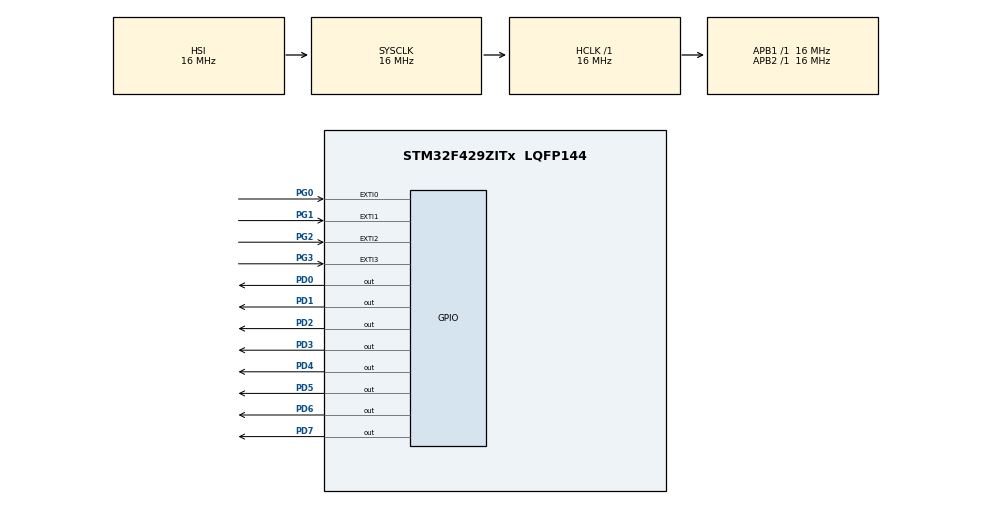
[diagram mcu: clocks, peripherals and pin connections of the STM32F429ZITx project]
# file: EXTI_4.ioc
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Mcu.Family=STM32F4
Mcu.Name=STM32F429ZITx
Mcu.Package=LQFP144
NVIC.EXTI0_IRQn=true\:0\:0\:false\:false\:true\:true\:true\:true
NVIC.EXTI1_IRQn=true\:0\:0\:false\:false\:true\:true\:true\:true
NVIC.EXTI2_IRQn=true\:0\:0\:false\:false\:true\:true\:true\:true
NVIC.EXTI3_IRQn=true\:0\:0\:false\:false\:true\:true\:true\:true
NVIC.PriorityGroup=NVIC_PRIORITYGROUP_4
PA13.Mode=Serial_Wire
PA13.Signal=SYS_JTMS-SWDIO
PA14.Mode=Serial_Wire
PA14.Signal=SYS_JTCK-SWCLK
PD0.GPIO_ModeDefaultOutputPP=GPIO_MODE_OUTPUT_PP
PD0.GPIO_PuPd=GPIO_PULLUP
PD0.GPIO_Speed=GPIO_SPEED_FREQ_HIGH
PD0.PinState=GPIO_PIN_RESET
PD0.Signal=GPIO_Output
PD1.GPIO_ModeDefaultOutputPP=GPIO_MODE_OUTPUT_PP
PD1.GPIO_PuPd=GPIO_PULLUP
PD1.GPIO_Speed=GPIO_SPEED_FREQ_HIGH
PD1.PinState=GPIO_PIN_RESET
PD1.Signal=GPIO_Output
PD2.GPIO_ModeDefaultOutputPP=GPIO_MODE_OUTPUT_PP
PD2.GPIO_PuPd=GPIO_PULLUP
PD2.GPIO_Speed=GPIO_SPEED_FREQ_HIGH
PD2.PinState=GPIO_PIN_RESET
PD2.Signal=GPIO_Output
PD3.GPIO_ModeDefaultOutputPP=GPIO_MODE_OUTPUT_PP
PD3.GPIO_PuPd=GPIO_PULLUP
PD3.GPIO_Speed=GPIO_SPEED_FREQ_HIGH
PD3.PinState=GPIO_PIN_RESET
PD3.Signal=GPIO_Output
PD4.GPIO_ModeDefaultOutputPP=GPIO_MODE_OUTPUT_PP
PD4.GPIO_PuPd=GPIO_PULLUP
PD4.GPIO_Speed=GPIO_SPEED_FREQ_HIGH
PD4.PinState=GPIO_PIN_RESET
PD4.Signal=GPIO_Output
PD5.GPIO_ModeDefaultOutputPP=GPIO_MODE_OUTPUT_PP
PD5.GPIO_PuPd=GPIO_PULLUP
PD5.GPIO_Speed=GPIO_SPEED_FREQ_HIGH
PD5.PinState=GPIO_PIN_RESET
PD5.Signal=GPIO_Output
PD6.GPIO_ModeDefaultOutputPP=GPIO_MODE_OUTPUT_PP
PD6.GPIO_PuPd=GPIO_PULLUP
PD6.GPIO_Speed=GPIO_SPEED_FREQ_HIGH
PD6.PinState=GPIO_PIN_RESET
PD6.Signal=GPIO_Output
PD7.GPIO_ModeDefaultOutputPP=GPIO_MODE_OUTPUT_PP
PD7.GPIO_PuPd=GPIO_PULLUP
PD7.GPIO_Speed=GPIO_SPEED_FREQ_HIGH
PD7.PinState=GPIO_PIN_RESET
PD7.Signal=GPIO_Output
PG0.GPIO_ModeDefaultEXTI=GPIO_MODE_IT_FALLING
PG0.GPIO_PuPd=GPIO_NOPULL
PG0.Signal=GPXTI0
PG1.GPIO_ModeDefaultEXTI=GPIO_MODE_IT_FALLING
PG1.GPIO_PuPd=GPIO_NOPULL
PG1.Signal=GPXTI1
PG2.GPIO_ModeDefaultEXTI=GPIO_MODE_IT_FALLING
PG2.GPIO_PuPd=GPIO_NOPULL
PG2.Signal=GPXTI2
PG3.GPIO_ModeDefaultEXTI=GPIO_MODE_IT_FALLING
PG3.GPIO_PuPd=GPIO_NOPULL
PG3.Signal=GPXTI3
ProjectManager.HeapSize=0x200
ProjectManager.StackSize=0x400
ProjectManager.TargetToolchain=STM32CubeIDE
RCC.AHBFreq_Value=16000000
RCC.APB1Freq_Value=16000000
RCC.APB2Freq_Value=16000000
RCC.CortexFreq_Value=16000000
RCC.HSE_VALUE=25000000
RCC.HSI_VALUE=16000000
RCC.LSE_VALUE=32768
RCC.SYSCLKFreq_VALUE=16000000
RCC.VCOOutputFreq_Value=192000000
board=custom

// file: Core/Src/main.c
/* USER CODE BEGIN Header */
/**
  ******************************************************************************
  * @file           : main.c
  * @brief          : Main program body
  ******************************************************************************
  * @attention
  *
  * Copyright (c) 2022 STMicroelectronics.
  * All rights reserved.
  *
  * This software is licensed under terms that can be found in the LICENSE file
  * in the root directory of this software component.
  * If no LICENSE file comes with this software, it is provided AS-IS.
  *
  ******************************************************************************
  */
/* USER CODE END Header */
#include "main.h"

void SystemClock_Config(void);
static void MX_GPIO_Init(void);
/* USER CODE BEGIN PFP */
void LED_OnOff(int, int);
/* USER CODE END PFP */

int main(void)
{

  /* MCU Configuration--------------------------------------------------------*/

  /* Reset of all peripherals, Initializes the Flash interface and the Systick. */
  HAL_Init();

  /* Configure the system clock */
  SystemClock_Config();

  /* Initialize all configured peripherals */
  MX_GPIO_Init();
  /* USER CODE BEGIN 2 */
  LED_OnOff(LED_ALL, 500);
  /* USER CODE END 2 */

  /* Infinite loop */
  while (1)
  {

  }
}

void SystemClock_Config(void)
{
  RCC_OscInitTypeDef RCC_OscInitStruct = {0};
  RCC_ClkInitTypeDef RCC_ClkInitStruct = {0};

  /** Configure the main internal regulator output voltage
  */
  __HAL_RCC_PWR_CLK_ENABLE();
  __HAL_PWR_VOLTAGESCALING_CONFIG(PWR_REGULATOR_VOLTAGE_SCALE3);

  /** Initializes the RCC Oscillators according to the specified parameters
  * in the RCC_OscInitTypeDef structure.
  */
  RCC_OscInitStruct.OscillatorType = RCC_OSCILLATORTYPE_HSI;
  RCC_OscInitStruct.HSIState = RCC_HSI_ON;
  RCC_OscInitStruct.HSICalibrationValue = RCC_HSICALIBRATION_DEFAULT;
  RCC_OscInitStruct.PLL.PLLState = RCC_PLL_NONE;
  if (HAL_RCC_OscConfig(&RCC_OscInitStruct) != HAL_OK)
  {
    Error_Handler();
  }

  /** Initializes the CPU, AHB and APB buses clocks
  */
  RCC_ClkInitStruct.ClockType = RCC_CLOCKTYPE_HCLK|RCC_CLOCKTYPE_SYSCLK
                              |RCC_CLOCKTYPE_PCLK1|RCC_CLOCKTYPE_PCLK2;
  RCC_ClkInitStruct.SYSCLKSource = RCC_SYSCLKSOURCE_HSI;
  RCC_ClkInitStruct.AHBCLKDivider = RCC_SYSCLK_DIV1;
  RCC_ClkInitStruct.APB1CLKDivider = RCC_HCLK_DIV1;
  RCC_ClkInitStruct.APB2CLKDivider = RCC_HCLK_DIV1;

  if (HAL_RCC_ClockConfig(&RCC_ClkInitStruct, FLASH_LATENCY_0) != HAL_OK)
  {
    Error_Handler();
  }
}

static void MX_GPIO_Init(void)
{
  GPIO_InitTypeDef GPIO_InitStruct = {0};

  /* GPIO Ports Clock Enable */
  __HAL_RCC_GPIOG_CLK_ENABLE();
  __HAL_RCC_GPIOA_CLK_ENABLE();
  __HAL_RCC_GPIOD_CLK_ENABLE();

  /*Configure GPIO pin Output Level */
  HAL_GPIO_WritePin(GPIOD, GPIO_PIN_0|GPIO_PIN_1|GPIO_PIN_2|GPIO_PIN_3
                          |GPIO_PIN_4|GPIO_PIN_5|GPIO_PIN_6|GPIO_PIN_7, GPIO_PIN_RESET);

  /*Configure GPIO pins : PG0 PG1 PG2 PG3 */
  GPIO_InitStruct.Pin = GPIO_PIN_0|GPIO_PIN_1|GPIO_PIN_2|GPIO_PIN_3;
  GPIO_InitStruct.Mode = GPIO_MODE_IT_FALLING;
  GPIO_InitStruct.Pull = GPIO_NOPULL;
  HAL_GPIO_Init(GPIOG, &GPIO_InitStruct);

  /*Configure GPIO pins : PD0 PD1 PD2 PD3
                           PD4 PD5 PD6 PD7 */
  GPIO_InitStruct.Pin = GPIO_PIN_0|GPIO_PIN_1|GPIO_PIN_2|GPIO_PIN_3
                          |GPIO_PIN_4|GPIO_PIN_5|GPIO_PIN_6|GPIO_PIN_7;
  GPIO_InitStruct.Mode = GPIO_MODE_OUTPUT_PP;
  GPIO_InitStruct.Pull = GPIO_PULLUP;
  GPIO_InitStruct.Speed = GPIO_SPEED_FREQ_HIGH;
  HAL_GPIO_Init(GPIOD, &GPIO_InitStruct);

  /* EXTI interrupt init*/
  HAL_NVIC_SetPriority(EXTI0_IRQn, 0, 0);
  HAL_NVIC_EnableIRQ(EXTI0_IRQn);

  HAL_NVIC_SetPriority(EXTI1_IRQn, 0, 0);
  HAL_NVIC_EnableIRQ(EXTI1_IRQn);

  HAL_NVIC_SetPriority(EXTI2_IRQn, 0, 0);
  HAL_NVIC_EnableIRQ(EXTI2_IRQn);

  HAL_NVIC_SetPriority(EXTI3_IRQn, 0, 0);
  HAL_NVIC_EnableIRQ(EXTI3_IRQn);

}

/* USER CODE BEGIN 4 */
void LED_OnOff(int led, int interval){
	HAL_GPIO_WritePin(GPIO_LED, led, GPIO_PIN_SET);
	HAL_GPIO_WritePin(GPIO_LED_Nucleo, led, GPIO_PIN_SET);

	HAL_Delay(interval);

	HAL_GPIO_WritePin(GPIO_LED, led, GPIO_PIN_RESET);
	HAL_GPIO_WritePin(GPIO_LED_Nucleo, led, GPIO_PIN_RESET);
}
void HAL_GPIO_EXTI_Callback(uint16_t GPIO_PIN){
	if(GPIO_PIN == SW1){
		HAL_GPIO_TogglePin(GPIO_LED, LED1 | LED2);
	}
	if(GPIO_PIN == SW2){
		HAL_GPIO_TogglePin(GPIO_LED, LED3 | LED4);
	}
	if(GPIO_PIN == SW3){
		HAL_GPIO_TogglePin(GPIO_LED, LED5 | LED6);
	}
	if(GPIO_PIN == SW4){
		HAL_GPIO_TogglePin(GPIO_LED, LED7 | LED8);
	}
}
/* USER CODE END 4 */

void Error_Handler(void)
{
  __disable_irq();
  while (1)
  {
  }
}
